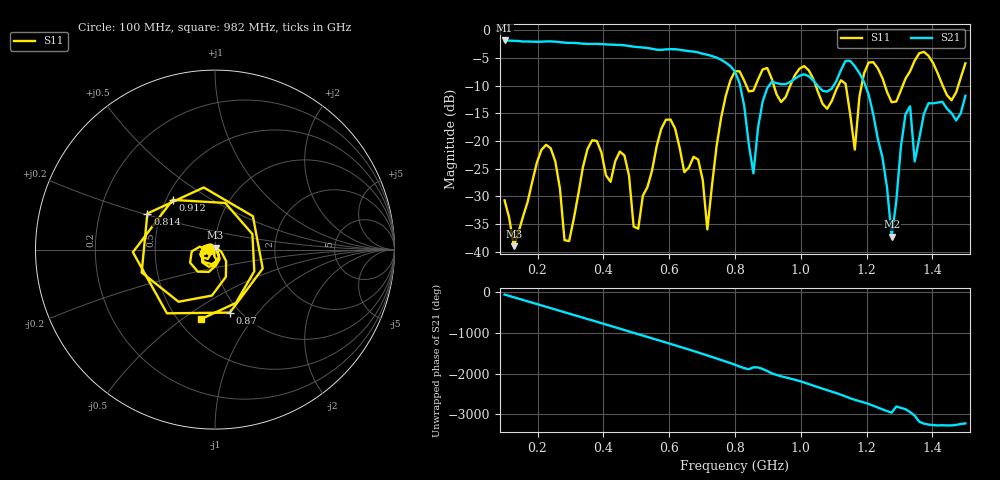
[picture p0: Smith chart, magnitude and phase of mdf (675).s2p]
! NanoVNA-App
! Date: 2025-09-25 15:43:40
! Start: 100MHz Stop: 1,5GHz Points: 101
! S-Parameter data: F S11 S21 S12 S22
# Hz S RI R 50
!  Frequency  S11_Real  S11_Imag  S21_Real  S21_Imag  S12_Real  S12_Imag  S22_Real  S22_Imag
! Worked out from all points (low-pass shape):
!   101 points, 100 MHz to 1.5 GHz, reference 50 ohm
!   highest |S21| = -1.80 dB at 100 MHz (marker M1); lowest = -37.3 dB at 1.276 GHz (marker M2)
!   |S21| within 3 dB of the highest: start of sweep to 739.2 MHz
!   lowest |S11| = -39.0 dB at 128 MHz (marker M3), VSWR 1.02, Z = 50.3 + j1.07 ohm
!   |S11| at or under -10 dB: start of sweep to 781.1 MHz; 1.045 GHz to 1.114 GHz (68.08 MHz wide, 6.31 % of centre); 1.256 GHz to 1.309 GHz (53.81 MHz wide, 4.2 % of centre) (the widest 3 of 7)
!   S12 and S22 are empty: the file has one direction only
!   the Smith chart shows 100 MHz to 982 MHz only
!   S11 on the Smith chart (normalised r, x): 100 MHz: 0.94, -0.01; 814 MHz: 0.42, +0.21; 870 MHz: 0.90, -0.73; 912 MHz: 0.54, +0.35; 982 MHz: 0.64, -0.59
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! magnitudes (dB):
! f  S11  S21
! 100 MHz  -30.7  -1.8
! 128 MHz  -39.0  -1.9
! 212 MHz  -21.6  -2.0
! 282 MHz  -37.9  -2.2
! 338 MHz  -24.7  -2.4
! 464 MHz  -22.6  -2.7
! 506 MHz  -35.8  -3.0
! 576 MHz  -17.8  -3.5
! 716 MHz  -36.0  -4.4
! 800 MHz  -7.4  -7.4
! 814 MHz  -7.4  -9.5
! 856 MHz  -10.9  -25.8
! 870 MHz  -8.9  -17.6
! 912 MHz  -8.8  -9.3
! 982 MHz  -8.1  -8.7
! 1.038 GHz  -8.8  -9.1
! 1.136 GHz  -9.6  -5.5
! 1.164 GHz  -21.6  -6.5
! 1.192 GHz  -7.8  -9.3
! 1.276 GHz  -13.0  -37.3
! 1.318 GHz  -8.7  -15.1
! 1.5 GHz  -5.9  -11.8
